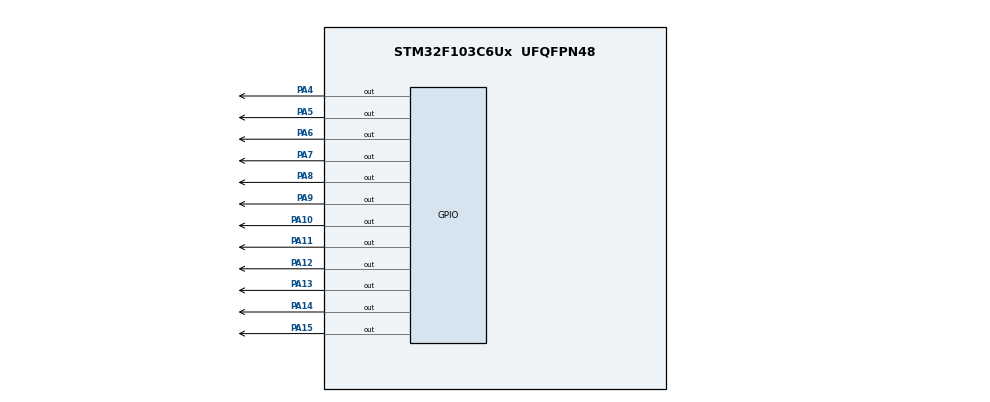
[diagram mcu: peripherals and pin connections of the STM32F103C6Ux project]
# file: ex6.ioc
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Mcu.Family=STM32F1
Mcu.Name=STM32F103C6Ux
Mcu.Package=UFQFPN48
NVIC.PriorityGroup=NVIC_PRIORITYGROUP_4
PA10.Signal=GPIO_Output
PA11.Signal=GPIO_Output
PA12.Signal=GPIO_Output
PA13.Signal=GPIO_Output
PA14.Signal=GPIO_Output
PA15.Signal=GPIO_Output
PA4.Signal=GPIO_Output
PA5.Signal=GPIO_Output
PA6.Signal=GPIO_Output
PA7.Signal=GPIO_Output
PA8.Signal=GPIO_Output
PA9.Signal=GPIO_Output
ProjectManager.HeapSize=0x200
ProjectManager.StackSize=0x400
ProjectManager.TargetToolchain=STM32CubeIDE
RCC.APB1Freq_Value=8000000
RCC.APB2Freq_Value=8000000
board=custom

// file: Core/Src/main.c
/* USER CODE BEGIN Header */
/**
  ******************************************************************************
  * @file           : main.c
  * @brief          : Main program body
  ******************************************************************************
  * @attention
  *
  * Copyright (c) 2022 STMicroelectronics.
  * All rights reserved.
  *
  * This software is licensed under terms that can be found in the LICENSE file
  * in the root directory of this software component.
  * If no LICENSE file comes with this software, it is provided AS-IS.
  *
  ******************************************************************************
  */
/* USER CODE END Header */
#include "main.h"

void SystemClock_Config(void);
static void MX_GPIO_Init(void);
/* USER CODE BEGIN PFP */
void LedProcess(void){
		HAL_GPIO_TogglePin(GPIOA, GPIO_PIN_4);
		HAL_Delay(500);
		HAL_GPIO_TogglePin(GPIOA, GPIO_PIN_5);
		HAL_Delay(500);
		HAL_GPIO_TogglePin(GPIOA, GPIO_PIN_6);
		HAL_Delay(500);
		HAL_GPIO_TogglePin(GPIOA, GPIO_PIN_7);
		HAL_Delay(500);
		HAL_GPIO_TogglePin(GPIOA, GPIO_PIN_8);
		HAL_Delay(500);
		HAL_GPIO_TogglePin(GPIOA, GPIO_PIN_9);
		HAL_Delay(500);
		HAL_GPIO_TogglePin(GPIOA, GPIO_PIN_10);
		HAL_Delay(500);
		HAL_GPIO_TogglePin(GPIOA, GPIO_PIN_11);
		HAL_Delay(500);
		HAL_GPIO_TogglePin(GPIOA, GPIO_PIN_12);
		HAL_Delay(500);
		HAL_GPIO_TogglePin(GPIOA, GPIO_PIN_13);
		HAL_Delay(500);
		HAL_GPIO_TogglePin(GPIOA, GPIO_PIN_14);
		HAL_Delay(500);
		HAL_GPIO_TogglePin(GPIOA, GPIO_PIN_15);
		HAL_Delay(500);
}
/* USER CODE END PFP */

int main(void)
{

  /* MCU Configuration--------------------------------------------------------*/

  /* Reset of all peripherals, Initializes the Flash interface and the Systick. */
  HAL_Init();

  /* Configure the system clock */
  SystemClock_Config();

  /* Initialize all configured peripherals */
  MX_GPIO_Init();

  /* Infinite loop */
  while (1)
  {
	  LedProcess();
  }
}

void SystemClock_Config(void)
{
  RCC_OscInitTypeDef RCC_OscInitStruct = {0};
  RCC_ClkInitTypeDef RCC_ClkInitStruct = {0};

  /** Initializes the RCC Oscillators according to the specified parameters
  * in the RCC_OscInitTypeDef structure.
  */
  RCC_OscInitStruct.OscillatorType = RCC_OSCILLATORTYPE_HSI;
  RCC_OscInitStruct.HSIState = RCC_HSI_ON;
  RCC_OscInitStruct.HSICalibrationValue = RCC_HSICALIBRATION_DEFAULT;
  RCC_OscInitStruct.PLL.PLLState = RCC_PLL_NONE;
  if (HAL_RCC_OscConfig(&RCC_OscInitStruct) != HAL_OK)
  {
    Error_Handler();
  }

  /** Initializes the CPU, AHB and APB buses clocks
  */
  RCC_ClkInitStruct.ClockType = RCC_CLOCKTYPE_HCLK|RCC_CLOCKTYPE_SYSCLK
                              |RCC_CLOCKTYPE_PCLK1|RCC_CLOCKTYPE_PCLK2;
  RCC_ClkInitStruct.SYSCLKSource = RCC_SYSCLKSOURCE_HSI;
  RCC_ClkInitStruct.AHBCLKDivider = RCC_SYSCLK_DIV1;
  RCC_ClkInitStruct.APB1CLKDivider = RCC_HCLK_DIV1;
  RCC_ClkInitStruct.APB2CLKDivider = RCC_HCLK_DIV1;

  if (HAL_RCC_ClockConfig(&RCC_ClkInitStruct, FLASH_LATENCY_0) != HAL_OK)
  {
    Error_Handler();
  }
}

static void MX_GPIO_Init(void)
{
  GPIO_InitTypeDef GPIO_InitStruct = {0};

  /* GPIO Ports Clock Enable */
  __HAL_RCC_GPIOA_CLK_ENABLE();

  /*Configure GPIO pin Output Level */
  HAL_GPIO_WritePin(GPIOA, GPIO_PIN_4|GPIO_PIN_5|GPIO_PIN_6|GPIO_PIN_7
                          |GPIO_PIN_8|GPIO_PIN_9|GPIO_PIN_10|GPIO_PIN_11
                          |GPIO_PIN_12|GPIO_PIN_13|GPIO_PIN_14|GPIO_PIN_15, GPIO_PIN_RESET);

  /*Configure GPIO pins : PA4 PA5 PA6 PA7
                           PA8 PA9 PA10 PA11
                           PA12 PA13 PA14 PA15 */
  GPIO_InitStruct.Pin = GPIO_PIN_4|GPIO_PIN_5|GPIO_PIN_6|GPIO_PIN_7
                          |GPIO_PIN_8|GPIO_PIN_9|GPIO_PIN_10|GPIO_PIN_11
                          |GPIO_PIN_12|GPIO_PIN_13|GPIO_PIN_14|GPIO_PIN_15;
  GPIO_InitStruct.Mode = GPIO_MODE_OUTPUT_PP;
  GPIO_InitStruct.Pull = GPIO_NOPULL;
  GPIO_InitStruct.Speed = GPIO_SPEED_FREQ_LOW;
  HAL_GPIO_Init(GPIOA, &GPIO_InitStruct);

}

void Error_Handler(void)
{
  __disable_irq();
  while (1)
  {
  }
}
